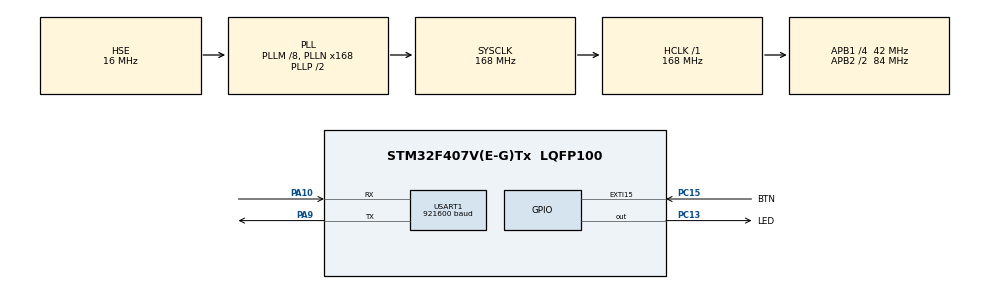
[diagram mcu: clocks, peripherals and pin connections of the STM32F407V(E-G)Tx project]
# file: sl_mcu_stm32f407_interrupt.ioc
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Mcu.Family=STM32F4
Mcu.Name=STM32F407V(E-G)Tx
Mcu.Package=LQFP100
NVIC.EXTI15_10_IRQn=true\:0\:0\:false\:false\:true\:true\:true\:true
NVIC.PriorityGroup=NVIC_PRIORITYGROUP_4
NVIC.TIM6_DAC_IRQn=true\:0\:0\:false\:false\:true\:true\:true\:true
PA10.Mode=Asynchronous
PA10.Signal=USART1_RX
PA13.Mode=Trace_Asynchronous_SW
PA13.Signal=SYS_JTMS-SWDIO
PA14.Mode=Trace_Asynchronous_SW
PA14.Signal=SYS_JTCK-SWCLK
PA9.Mode=Asynchronous
PA9.Signal=USART1_TX
PB3.Mode=Trace_Asynchronous_SW
PB3.Signal=SYS_JTDO-SWO
PC13-ANTI_TAMP.GPIO_Label=LED
PC13-ANTI_TAMP.GPIO_ModeDefaultOutputPP=GPIO_MODE_OUTPUT_OD
PC13-ANTI_TAMP.GPIO_PuPd=GPIO_NOPULL
PC13-ANTI_TAMP.PinState=GPIO_PIN_SET
PC13-ANTI_TAMP.Signal=GPIO_Output
PC15-OSC32_OUT.GPIO_Label=BTN
PC15-OSC32_OUT.Signal=GPXTI15
PH0-OSC_IN.Mode=HSE-External-Oscillator
PH0-OSC_IN.Signal=RCC_OSC_IN
PH1-OSC_OUT.Mode=HSE-External-Oscillator
PH1-OSC_OUT.Signal=RCC_OSC_OUT
ProjectManager.HeapSize=0x200
ProjectManager.StackSize=0x400
ProjectManager.TargetToolchain=STM32CubeIDE
RCC.48MHZClocksFreq_Value=48000000
RCC.AHBFreq_Value=168000000
RCC.APB1CLKDivider=RCC_HCLK_DIV4
RCC.APB1Freq_Value=42000000
RCC.APB1TimFreq_Value=84000000
RCC.APB2CLKDivider=RCC_HCLK_DIV2
RCC.APB2Freq_Value=84000000
RCC.APB2TimFreq_Value=168000000
RCC.CortexFreq_Value=168000000
RCC.HCLKFreq_Value=168000000
RCC.HSE_VALUE=16000000
RCC.HSI_VALUE=16000000
RCC.LSE_VALUE=32768
RCC.PLLM=8
RCC.PLLN=168
RCC.PLLQ=7
RCC.PLLSourceVirtual=RCC_PLLSOURCE_HSE
RCC.SYSCLKFreq_VALUE=168000000
RCC.SYSCLKSource=RCC_SYSCLKSOURCE_PLLCLK
RCC.VCOOutputFreq_Value=336000000
TIM6.AutoReloadPreload=TIM_AUTORELOAD_PRELOAD_ENABLE
TIM6.Period=10000 - 1
TIM6.Prescaler=8400 - 1
TIM6.TIM_MasterOutputTrigger=TIM_TRGO_UPDATE
USART1.BaudRate=921600
USART1.OverSampling=UART_OVERSAMPLING_8
USART1.VirtualMode=VM_ASYNC
VP_TIM6_VS_ClockSourceINT.Mode=Enable_Timer
board=custom

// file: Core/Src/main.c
/* USER CODE BEGIN Header */
/**
 ******************************************************************************
 * @file           : main.c
 * @brief          : Main program body
 ******************************************************************************
 * @attention
 *
 * Copyright (c) 2026 STM32World <lth@stm32world.com>
 * All rights reserved.
 *
 * This software is licensed under terms that can be found in the LICENSE file
 * in the root directory of this software component.
 * If no LICENSE file comes with this software, it is provided AS-IS.
 *
 ******************************************************************************
 */
/* USER CODE END Header */
#include "main.h"

/* USER CODE BEGIN Includes */
#include <stdio.h>
/* USER CODE END Includes */

TIM_HandleTypeDef htim6;

UART_HandleTypeDef huart1;

/* USER CODE BEGIN PV */

const uint16_t blink_intervals[] = {
        5000 - 1,
        2500 - 1,
        1000 -1
};

uint8_t blink_interval = 0;

/* USER CODE END PV */

void SystemClock_Config(void);
static void MX_GPIO_Init(void);
static void MX_USART1_UART_Init(void);
static void MX_TIM6_Init(void);

/* USER CODE BEGIN 0 */

// Send printf to uart1
int __io_putchar(int ch) {
    if (ch == '\n') {
        HAL_UART_Transmit(&huart1, (uint8_t*) "\r", 1, HAL_MAX_DELAY);
    }
    if (HAL_UART_Transmit(&huart1, (uint8_t*) &ch, 1, HAL_MAX_DELAY) != HAL_OK) {
        return -1;
    }
    return ch;
}

void HAL_GPIO_EXTI_Callback(uint16_t GPIO_Pin) {
    if (GPIO_Pin == BTN_Pin) {
        ++blink_interval;
        if (blink_interval >= (sizeof(blink_intervals) / sizeof(blink_intervals[0])))
            blink_interval = 0;

        __HAL_TIM_SET_AUTORELOAD(&htim6, blink_intervals[blink_interval]);

    }
}

void HAL_TIM_PeriodElapsedCallback(TIM_HandleTypeDef *htim) {
    if (htim == &htim6) {
        HAL_GPIO_TogglePin(LED_GPIO_Port, LED_Pin);
    }
}

/* USER CODE END 0 */

int main(void)
{

    /* MCU Configuration--------------------------------------------------------*/

    /* Reset of all peripherals, Initializes the Flash interface and the Systick. */
    HAL_Init();

    /* Configure the system clock */
    SystemClock_Config();

    /* Initialize all configured peripherals */
    MX_GPIO_Init();
    MX_USART1_UART_Init();
    MX_TIM6_Init();
    /* USER CODE BEGIN 2 */

    printf("\n\n\n\n--------\nStarting\n");

    __HAL_TIM_SET_AUTORELOAD(&htim6, blink_intervals[blink_interval]);
    HAL_TIM_Base_Start_IT(&htim6);

    /* USER CODE END 2 */

    /* Infinite loop */
    /* USER CODE BEGIN WHILE */

    register uint32_t now = 0, loop_cnt = 0, next_tick = 1000;

    while (1) {

        now = uwTick;

        if (now >= next_tick) {

            printf("Tick %lu (loop = %lu)\n", now / 1000, loop_cnt);

            loop_cnt = 0;
            next_tick = now + 1000;
        }

        ++loop_cnt;

        /* USER CODE END WHILE */

    }
}

void SystemClock_Config(void)
{
    RCC_OscInitTypeDef RCC_OscInitStruct = { 0 };
    RCC_ClkInitTypeDef RCC_ClkInitStruct = { 0 };

    /** Configure the main internal regulator output voltage
     */
    __HAL_RCC_PWR_CLK_ENABLE();
    __HAL_PWR_VOLTAGESCALING_CONFIG(PWR_REGULATOR_VOLTAGE_SCALE1);

    /** Initializes the RCC Oscillators according to the specified parameters
     * in the RCC_OscInitTypeDef structure.
     */
    RCC_OscInitStruct.OscillatorType = RCC_OSCILLATORTYPE_HSE;
    RCC_OscInitStruct.HSEState = RCC_HSE_ON;
    RCC_OscInitStruct.PLL.PLLState = RCC_PLL_ON;
    RCC_OscInitStruct.PLL.PLLSource = RCC_PLLSOURCE_HSE;
    RCC_OscInitStruct.PLL.PLLM = 8;
    RCC_OscInitStruct.PLL.PLLN = 168;
    RCC_OscInitStruct.PLL.PLLP = RCC_PLLP_DIV2;
    RCC_OscInitStruct.PLL.PLLQ = 7;
    if (HAL_RCC_OscConfig(&RCC_OscInitStruct) != HAL_OK)
            {
        Error_Handler();
    }

    /** Initializes the CPU, AHB and APB buses clocks
     */
    RCC_ClkInitStruct.ClockType = RCC_CLOCKTYPE_HCLK | RCC_CLOCKTYPE_SYSCLK
            | RCC_CLOCKTYPE_PCLK1 | RCC_CLOCKTYPE_PCLK2;
    RCC_ClkInitStruct.SYSCLKSource = RCC_SYSCLKSOURCE_PLLCLK;
    RCC_ClkInitStruct.AHBCLKDivider = RCC_SYSCLK_DIV1;
    RCC_ClkInitStruct.APB1CLKDivider = RCC_HCLK_DIV4;
    RCC_ClkInitStruct.APB2CLKDivider = RCC_HCLK_DIV2;

    if (HAL_RCC_ClockConfig(&RCC_ClkInitStruct, FLASH_LATENCY_5) != HAL_OK)
            {
        Error_Handler();
    }
}

static void MX_TIM6_Init(void)
{

    TIM_MasterConfigTypeDef sMasterConfig = { 0 };

    htim6.Instance = TIM6;
    htim6.Init.Prescaler = 8400 - 1;
    htim6.Init.CounterMode = TIM_COUNTERMODE_UP;
    htim6.Init.Period = 10000 - 1;
    htim6.Init.AutoReloadPreload = TIM_AUTORELOAD_PRELOAD_ENABLE;
    if (HAL_TIM_Base_Init(&htim6) != HAL_OK)
            {
        Error_Handler();
    }
    sMasterConfig.MasterOutputTrigger = TIM_TRGO_UPDATE;
    sMasterConfig.MasterSlaveMode = TIM_MASTERSLAVEMODE_DISABLE;
    if (HAL_TIMEx_MasterConfigSynchronization(&htim6, &sMasterConfig) != HAL_OK)
            {
        Error_Handler();
    }

}

static void MX_USART1_UART_Init(void)
{

    huart1.Instance = USART1;
    huart1.Init.BaudRate = 921600;
    huart1.Init.WordLength = UART_WORDLENGTH_8B;
    huart1.Init.StopBits = UART_STOPBITS_1;
    huart1.Init.Parity = UART_PARITY_NONE;
    huart1.Init.Mode = UART_MODE_TX_RX;
    huart1.Init.HwFlowCtl = UART_HWCONTROL_NONE;
    huart1.Init.OverSampling = UART_OVERSAMPLING_8;
    if (HAL_UART_Init(&huart1) != HAL_OK)
            {
        Error_Handler();
    }

}

static void MX_GPIO_Init(void)
{
    GPIO_InitTypeDef GPIO_InitStruct = { 0 };

    /* GPIO Ports Clock Enable */
    __HAL_RCC_GPIOC_CLK_ENABLE();
    __HAL_RCC_GPIOH_CLK_ENABLE();
    __HAL_RCC_GPIOA_CLK_ENABLE();
    __HAL_RCC_GPIOB_CLK_ENABLE();

    /*Configure GPIO pin Output Level */
    HAL_GPIO_WritePin(LED_GPIO_Port, LED_Pin, GPIO_PIN_SET);

    /*Configure GPIO pin : LED_Pin */
    GPIO_InitStruct.Pin = LED_Pin;
    GPIO_InitStruct.Mode = GPIO_MODE_OUTPUT_OD;
    GPIO_InitStruct.Pull = GPIO_NOPULL;
    GPIO_InitStruct.Speed = GPIO_SPEED_FREQ_LOW;
    HAL_GPIO_Init(LED_GPIO_Port, &GPIO_InitStruct);

    /*Configure GPIO pin : BTN_Pin */
    GPIO_InitStruct.Pin = BTN_Pin;
    GPIO_InitStruct.Mode = GPIO_MODE_IT_RISING;
    GPIO_InitStruct.Pull = GPIO_NOPULL;
    HAL_GPIO_Init(BTN_GPIO_Port, &GPIO_InitStruct);

    /* EXTI interrupt init*/
    HAL_NVIC_SetPriority(EXTI15_10_IRQn, 0, 0);
    HAL_NVIC_EnableIRQ(EXTI15_10_IRQn);

}

void Error_Handler(void)
{
    __disable_irq();
    while (1)
    {
    }
}
